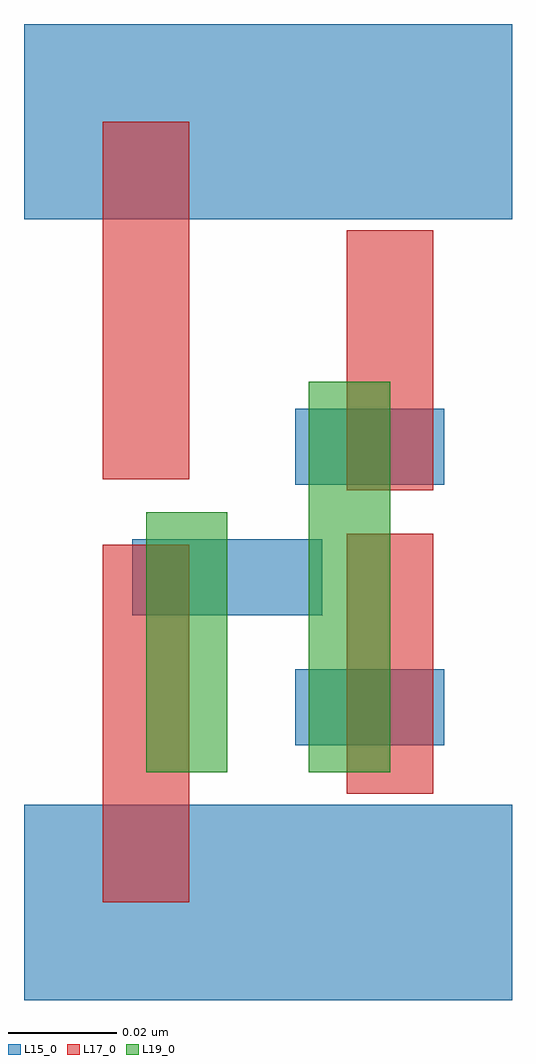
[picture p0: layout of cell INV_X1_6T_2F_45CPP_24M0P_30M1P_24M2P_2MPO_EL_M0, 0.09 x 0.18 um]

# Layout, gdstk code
import gdstk
lib = gdstk.Library(unit=1e-6, precision=2.5e-10)
def R(c, l, rs):  # rectangles x0, y0, x1, y1
    for r in rs: c.add(gdstk.rectangle(r[:2], r[2:], *l))
L15_0 = (15, 0)
L17_0 = (17, 0)
L19_0 = (19, 0)

inv_x1_6t_2f_45cpp_24m0p = lib.new_cell('INV_X1_6T_2F_45CPP_24M0P_30M1P_24M2P_2MPO_EL_M0')
R(inv_x1_6t_2f_45cpp_24m0p, L15_0, [(0,-0.018,0.09,0.018), (0.05,0.029,0.0775,0.043), (0.02,0.053,0.055,0.067), (0.05,0.077,0.0775,0.091), (0,0.126,0.09,0.162)])
R(inv_x1_6t_2f_45cpp_24m0p, L17_0, [(0.0145,0,0.0305,0.066), (0.0595,0.02,0.0755,0.068), (0.0595,0.076,0.0755,0.124), (0.0145,0.078,0.0305,0.144)])
R(inv_x1_6t_2f_45cpp_24m0p, L19_0, [(0.0225,0.024,0.0375,0.072), (0.0525,0.024,0.0675,0.096)])

lib.write_gds('INV_X1_6T_2F_45CPP_24M0P_30M1P_24M2P_2MPO_EL_M0.gds')
